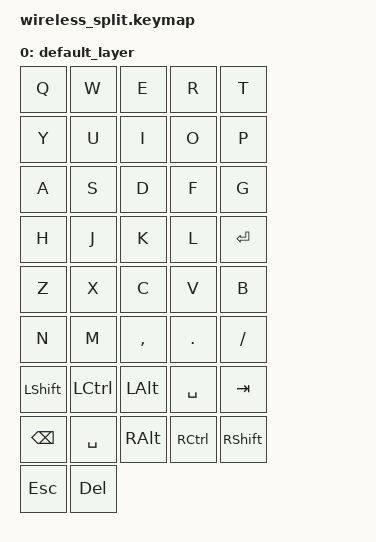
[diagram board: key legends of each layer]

#include <behaviors.dtsi>
#include <dt-bindings/zmk/keys.h>

/ {
    keymap {
        compatible = "zmk,keymap";

        default_layer {
            bindings = <
                &kp Q &kp W &kp E &kp R &kp T
                &kp Y &kp U &kp I &kp O &kp P

                &kp A &kp S &kp D &kp F &kp G
                &kp H &kp J &kp K &kp L &kp ENTER

                &kp Z &kp X &kp C &kp V &kp B
                &kp N &kp M &kp COMMA &kp DOT &kp SLASH

                &kp LSHIFT &kp LCTRL &kp LALT &kp SPACE &kp TAB
                &kp BACKSPACE &kp SPACE &kp RALT &kp RCTRL &kp RSHIFT

                &kp ESC &kp DEL
            >;
        };
    };
};
